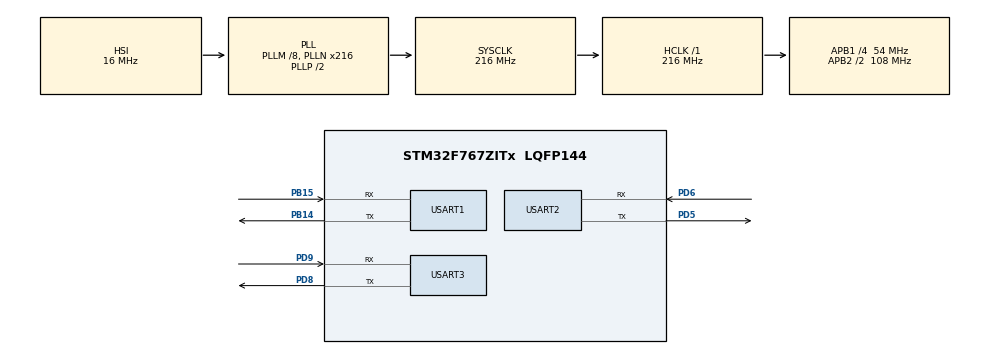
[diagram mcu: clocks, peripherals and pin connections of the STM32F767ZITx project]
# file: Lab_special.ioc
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Mcu.Family=STM32F7
Mcu.Name=STM32F767ZITx
Mcu.Package=LQFP144
NVIC.PriorityGroup=NVIC_PRIORITYGROUP_4
NVIC.USART1_IRQn=true\:1\:0\:true\:false\:true\:true\:true\:true
NVIC.USART2_IRQn=true\:0\:0\:false\:false\:true\:true\:true\:true
NVIC.USART3_IRQn=true\:0\:0\:false\:false\:true\:true\:true\:true
PB14.Mode=Asynchronous
PB14.Signal=USART1_TX
PB15.Mode=Asynchronous
PB15.Signal=USART1_RX
PD5.Mode=Asynchronous
PD5.Signal=USART2_TX
PD6.Mode=Asynchronous
PD6.Signal=USART2_RX
PD8.Mode=Asynchronous
PD8.Signal=USART3_TX
PD9.Mode=Asynchronous
PD9.Signal=USART3_RX
ProjectManager.HeapSize=0x200
ProjectManager.StackSize=0x400
ProjectManager.TargetToolchain=STM32CubeIDE
RCC.AHBFreq_Value=216000000
RCC.APB1CLKDivider=RCC_HCLK_DIV4
RCC.APB1Freq_Value=54000000
RCC.APB1TimFreq_Value=108000000
RCC.APB2CLKDivider=RCC_HCLK_DIV2
RCC.APB2Freq_Value=108000000
RCC.APB2TimFreq_Value=216000000
RCC.CortexFreq_Value=216000000
RCC.HCLKFreq_Value=216000000
RCC.HSE_VALUE=25000000
RCC.HSI_VALUE=16000000
RCC.LSE_VALUE=32768
RCC.PLLM=8
RCC.PLLN=216
RCC.SYSCLKFreq_VALUE=216000000
RCC.SYSCLKSource=RCC_SYSCLKSOURCE_PLLCLK
RCC.USBFreq_Value=216000000
RCC.VCOOutputFreq_Value=432000000
USART1.VirtualMode-Asynchronous=VM_ASYNC
USART2.VirtualMode-Asynchronous=VM_ASYNC
USART3.VirtualMode-Asynchronous=VM_ASYNC
board=custom

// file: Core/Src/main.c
/* USER CODE BEGIN Header */
/**
  ******************************************************************************
  * @file           : main.c
  * @brief          : Main program body
  ******************************************************************************
  * @attention
  *
  * Copyright (c) 2023 STMicroelectronics.
  * All rights reserved.
  *
  * This software is licensed under terms that can be found in the LICENSE file
  * in the root directory of this software component.
  * If no LICENSE file comes with this software, it is provided AS-IS.
  *
  ******************************************************************************
  */
/* USER CODE END Header */
#include "main.h"
#include "usart.h"
#include "gpio.h"

/* USER CODE BEGIN Includes */
//#include "string.h"
/* USER CODE END Includes */

/* USER CODE BEGIN PV */
char ch1, helloMsg[] = "Man from U.A.R.T.1!\n\rQuit PRESS q\r\n", name[100], recvBuffer[100], sendBuffer[100];
int state=0, isSend=1, sendName=0, idxName=0, idxBuffer=0, checkRecv=0,f=0;
/* USER CODE END PV */

void SystemClock_Config(void);

/* USER CODE BEGIN 0 */

//void HAL_UART_RxCpltCallback(UART_HandleTypeDef *huart) {
//	HAL_UART_Receive_IT();
//}
/* USER CODE END 0 */

int main(void)
{

  /* MCU Configuration--------------------------------------------------------*/

  /* Reset of all peripherals, Initializes the Flash interface and the Systick. */
  HAL_Init();

  /* Configure the system clock */
  SystemClock_Config();

  /* Initialize all configured peripherals */
  MX_GPIO_Init();
  MX_USART3_UART_Init();
  MX_USART1_UART_Init();
  MX_USART2_UART_Init();
  /* USER CODE BEGIN 2 */
  HAL_UART_Receive_IT(&huart3, (uint8_t*) &ch1, 1);
  HAL_UART_Transmit(&huart3, (uint8_t*) &helloMsg, strlen(helloMsg), 1000);

  /* USER CODE END 2 */

  /* Infinite loop */
  while (1)
  {

    /* USER CODE BEGIN 3 */
	  if(state==0&&isSend==1&&sendName==0){
		  while(__HAL_UART_GET_FLAG(&huart3,UART_FLAG_TC)==RESET){}
		  HAL_UART_Transmit(&huart3,(uint8_t*) "\tName: ", strlen("\tName: "),1000);
		  sendName=1;
	  }
	  if(isSend==0){
		  while(__HAL_UART_GET_FLAG(&huart2,UART_FLAG_RXNE)==RESET){}
		  HAL_UART_Receive(&huart2,(uint8_t*) recvBuffer, 100,1000);
		  if(recvBuffer[0]=='q'&&strlen(recvBuffer)==1){
			  state=2;
			  while(__HAL_UART_GET_FLAG(&huart3,UART_FLAG_TC)==RESET){}
			  HAL_UART_Transmit(&huart3,(uint8_t*) "Program ended from U.A.R.T.2", strlen("Program ended from U.A.R.T.2"),1000);
		  }
		  else{
				  while(__HAL_UART_GET_FLAG(&huart3,UART_FLAG_TC)==RESET){}
				  HAL_UART_Transmit(&huart3,(uint8_t*) recvBuffer, strlen(recvBuffer),1000);
				  while(__HAL_UART_GET_FLAG(&huart3,UART_FLAG_TC)==RESET){}
				  HAL_UART_Transmit(&huart3,(uint8_t*) "\t", 1,1000);
				  while(__HAL_UART_GET_FLAG(&huart3,UART_FLAG_TC)==RESET){}
				  HAL_UART_Transmit(&huart3,(uint8_t*) name, strlen(name),1000);
				  while(__HAL_UART_GET_FLAG(&huart3,UART_FLAG_TC)==RESET){}
				  HAL_UART_Transmit(&huart3,(uint8_t*) " => ", strlen(" => "),1000);
				  isSend=1;
				  memset(recvBuffer,0,strlen(recvBuffer));
		  }
	  }
	  HAL_Delay(1000);
  }
  /* USER CODE END 3 */
}

void SystemClock_Config(void)
{
  RCC_OscInitTypeDef RCC_OscInitStruct = {0};
  RCC_ClkInitTypeDef RCC_ClkInitStruct = {0};

  /** Configure the main internal regulator output voltage
  */
  __HAL_RCC_PWR_CLK_ENABLE();
  __HAL_PWR_VOLTAGESCALING_CONFIG(PWR_REGULATOR_VOLTAGE_SCALE1);

  /** Initializes the RCC Oscillators according to the specified parameters
  * in the RCC_OscInitTypeDef structure.
  */
  RCC_OscInitStruct.OscillatorType = RCC_OSCILLATORTYPE_HSI;
  RCC_OscInitStruct.HSIState = RCC_HSI_ON;
  RCC_OscInitStruct.HSICalibrationValue = RCC_HSICALIBRATION_DEFAULT;
  RCC_OscInitStruct.PLL.PLLState = RCC_PLL_ON;
  RCC_OscInitStruct.PLL.PLLSource = RCC_PLLSOURCE_HSI;
  RCC_OscInitStruct.PLL.PLLM = 8;
  RCC_OscInitStruct.PLL.PLLN = 216;
  RCC_OscInitStruct.PLL.PLLP = RCC_PLLP_DIV2;
  RCC_OscInitStruct.PLL.PLLQ = 2;
  RCC_OscInitStruct.PLL.PLLR = 2;
  if (HAL_RCC_OscConfig(&RCC_OscInitStruct) != HAL_OK)
  {
    Error_Handler();
  }

  /** Activate the Over-Drive mode
  */
  if (HAL_PWREx_EnableOverDrive() != HAL_OK)
  {
    Error_Handler();
  }

  /** Initializes the CPU, AHB and APB buses clocks
  */
  RCC_ClkInitStruct.ClockType = RCC_CLOCKTYPE_HCLK|RCC_CLOCKTYPE_SYSCLK
                              |RCC_CLOCKTYPE_PCLK1|RCC_CLOCKTYPE_PCLK2;
  RCC_ClkInitStruct.SYSCLKSource = RCC_SYSCLKSOURCE_PLLCLK;
  RCC_ClkInitStruct.AHBCLKDivider = RCC_SYSCLK_DIV1;
  RCC_ClkInitStruct.APB1CLKDivider = RCC_HCLK_DIV4;
  RCC_ClkInitStruct.APB2CLKDivider = RCC_HCLK_DIV2;

  if (HAL_RCC_ClockConfig(&RCC_ClkInitStruct, FLASH_LATENCY_7) != HAL_OK)
  {
    Error_Handler();
  }
}

/* USER CODE BEGIN 4 */
void HAL_UART_RxCpltCallback(UART_HandleTypeDef *huart)
{
	if(huart==&huart3){
		HAL_UART_Receive_IT(&huart3,(uint8_t*)&ch1,1);
		if(isSend==1){
			if(state==0){
				while(__HAL_UART_GET_FLAG(&huart3,UART_FLAG_TC)==RESET){}
				HAL_UART_Transmit(&huart3,(uint8_t*)&ch1,1,1000);
				if(ch1==13){
					while(__HAL_UART_GET_FLAG(&huart3,UART_FLAG_TC)==RESET){}
					HAL_UART_Transmit(&huart3,(uint8_t*)"\r\n", strlen("\r\n"),1000);
					while(__HAL_UART_GET_FLAG(&huart2,UART_FLAG_TC)==RESET){}
					HAL_UART_Transmit(&huart2,(uint8_t*)"\t", 1,1000);
					while(__HAL_UART_GET_FLAG(&huart2,UART_FLAG_TC)==RESET){}
					HAL_UART_Transmit(&huart2,(uint8_t*) name, strlen(name),1000);
					while(__HAL_UART_GET_FLAG(&huart2,UART_FLAG_TC)==RESET){}
					HAL_UART_Transmit(&huart2,(uint8_t*)" is ready.", strlen(" is ready."),1000);
					while(__HAL_UART_GET_FLAG(&huart2,UART_FLAG_TC)==RESET){}
					HAL_UART_Transmit(&huart2,(uint8_t*)"\r\n", strlen("\r\n"),1000);
					isSend=0;
					state=1;
					sendName=0;
				}
				else{
					name[idxName++]=ch1;
				}
			}
			else if(state==1){
				HAL_UART_Transmit(&huart3,(uint8_t*)&ch1,1,1000);
				if(ch1==13){
					while(__HAL_UART_GET_FLAG(&huart3,UART_FLAG_TC)==RESET){}
					HAL_UART_Transmit(&huart3,(uint8_t*)"\r\n",strlen("\r\n"),1000);
					if(sendBuffer[0]=='q' && idxBuffer==1){
						while(__HAL_UART_GET_FLAG(&huart3,UART_FLAG_TC)==RESET){}
						HAL_UART_Transmit(&huart3,(uint8_t*)"Program ended",strlen("Program ended"),1000);
						while(__HAL_UART_GET_FLAG(&huart2,UART_FLAG_TC)==RESET){}
						HAL_UART_Transmit(&huart2,(uint8_t*)"q",1,1000);
						state=2;
					}
					else{
						while(__HAL_UART_GET_FLAG(&huart2,UART_FLAG_TC)==RESET){}
						HAL_UART_Transmit(&huart2,(uint8_t*)"\t",1,1000);
						while(__HAL_UART_GET_FLAG(&huart2,UART_FLAG_TC)==RESET){}
						HAL_UART_Transmit(&huart2,(uint8_t*)name,strlen(name),1000);
						while(__HAL_UART_GET_FLAG(&huart2,UART_FLAG_TC)==RESET){}
						HAL_UART_Transmit(&huart2,(uint8_t*)" : ",strlen(" : "),1000);
						while(__HAL_UART_GET_FLAG(&huart2,UART_FLAG_TC)==RESET){}
						HAL_UART_Transmit(&huart2,(uint8_t*)sendBuffer,strlen(sendBuffer),1000);
						while(__HAL_UART_GET_FLAG(&huart2,UART_FLAG_TC)==RESET){}
						HAL_UART_Transmit(&huart2,(uint8_t*)"\r\n",strlen("\r\n"),1000);
						idxBuffer=0;
						memset(sendBuffer,0,strlen(sendBuffer));
						isSend=0;
					}
				}
				else{
					sendBuffer[idxBuffer++]=ch1;
				}
			}
		}
	}
}
/* USER CODE END 4 */

void Error_Handler(void)
{
  __disable_irq();
  while (1)
  {
  }
}
